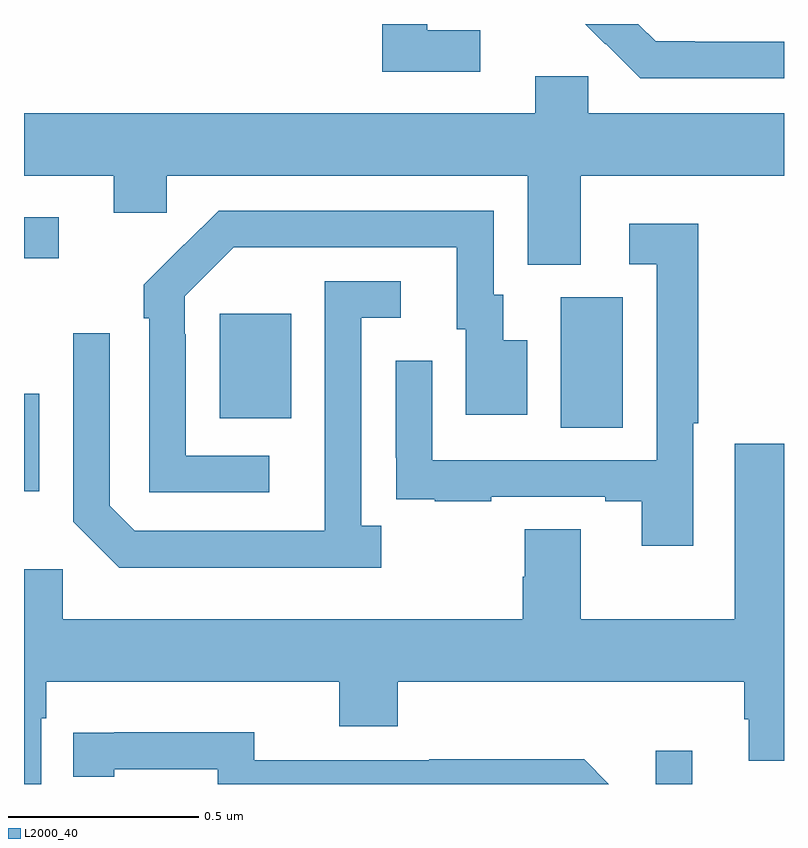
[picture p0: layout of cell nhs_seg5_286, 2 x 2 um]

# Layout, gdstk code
import gdstk
lib = gdstk.Library(unit=1e-6, precision=1e-09)
def R(c, l, rs):  # rectangles x0, y0, x1, y1
    for r in rs: c.add(gdstk.rectangle(r[:2], r[2:], *l))
def P(c, l, *ps):  # polygons
    for p in ps: c.add(gdstk.Polygon(p, *l))
L2000_40 = (2000, 40)

nhs_seg5_286 = lib.new_cell('nhs_seg5_286')
R(nhs_seg5_286, L2000_40, [(115.662,881.799,115.759,881.887), (114,882.569,114.04,882.826), (115.412,882.736,115.576,883.08), (114.515,882.761,114.703,883.036), (114,883.182,114.091,883.29)])
P(nhs_seg5_286, L2000_40, [(116,883.752),(115.765,883.752),(115.765,883.753),(115.662,883.753),(115.616,883.799),(115.477,883.799),(115.53,883.746),(115.531,883.747),(115.622,883.656),(116,883.656)],
  [(115.201,883.783),(115.061,883.783),(115.061,883.799),(114.943,883.799),(114.943,883.674),(115.201,883.674)],
  [(115.465,883.4),(116,883.4),(116,883.564),(115.485,883.564),(115.485,883.662),(115.346,883.662),(115.346,883.564),(114,883.564),(114,883.4),(114.236,883.4),(114.236,883.302),(114.375,883.302),(114.375,883.4),(115.325,883.4),(115.325,883.165),(115.465,883.165)],
  [(114.646,882.663),(114.426,882.663),(114.426,882.983),(114.423,882.983),(114.423,883.083),(114.552,883.212),(115.139,883.212),(115.139,882.996),(115.163,882.996),(115.163,882.771),(115.324,882.771),(115.324,882.967),(115.261,882.967),(115.261,883.086),(115.236,883.086),(115.236,883.308),(114.512,883.308),(114.421,883.217),(114.42,883.218),(114.315,883.113),(114.315,883.025),(114.33,883.025),(114.33,882.567),(114.646,882.567)],
  [(115.761,882.748),(115.774,882.748),(115.774,883.273),(115.593,883.273),(115.593,883.167),(115.665,883.167),(115.665,882.651),(115.074,882.651),(115.074,882.913),(114.978,882.913),(114.978,882.658),(114.979,882.658),(114.979,882.549),(115.081,882.549),(115.081,882.543),(115.229,882.543),(115.229,882.555),(115.529,882.555),(115.529,882.543),(115.625,882.543),(115.625,882.426),(115.761,882.426)],
  [(114.94,882.478),(114.888,882.478),(114.888,883.026),(114.991,883.026),(114.991,883.122),(114.792,883.122),(114.792,882.665),(114.791,882.665),(114.791,882.465),(114.291,882.465),(114.225,882.531),(114.225,882.985),(114.129,882.985),(114.129,882.489),(114.25,882.368),(114.94,882.368)],
  [(114.045,881.972),(114.059,881.972),(114.059,882.068),(114.83,882.068),(114.83,881.951),(114.983,881.951),(114.983,882.068),(115.895,882.068),(115.895,881.97),(115.907,881.97),(115.907,881.86),(116,881.86),(116,882.694),(115.871,882.694),(115.871,882.232),(115.465,882.232),(115.465,882.47),(115.318,882.47),(115.318,882.345),(115.313,882.345),(115.313,882.232),(114.102,882.232),(114.102,882.364),(114,882.364),(114,881.799),(114.045,881.799)],
  [(115.474,881.864),(115.066,881.864),(115.066,881.862),(114.606,881.862),(114.606,881.935),(114.238,881.935),(114.238,881.934),(114.13,881.934),(114.13,881.818),(114.238,881.818),(114.238,881.838),(114.51,881.838),(114.51,881.799),(115.539,881.799)])

lib.write_gds('nhs_seg5_286.gds')
